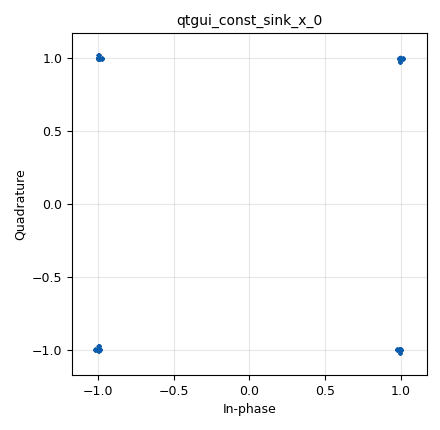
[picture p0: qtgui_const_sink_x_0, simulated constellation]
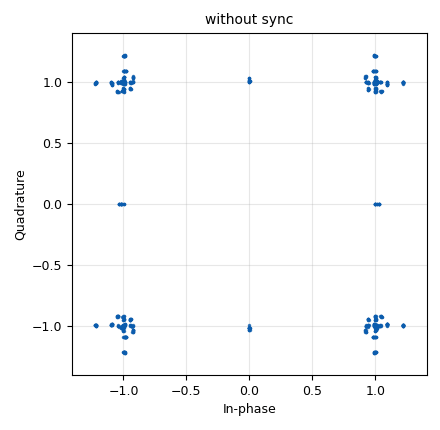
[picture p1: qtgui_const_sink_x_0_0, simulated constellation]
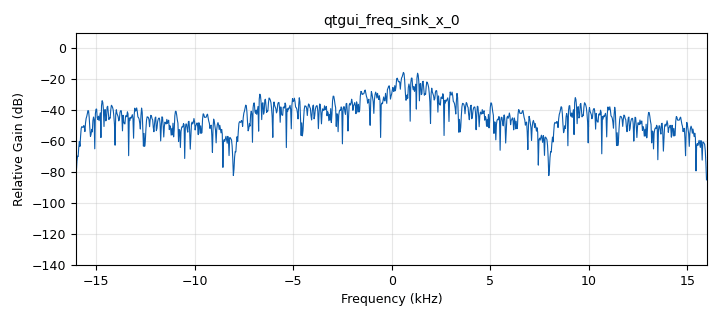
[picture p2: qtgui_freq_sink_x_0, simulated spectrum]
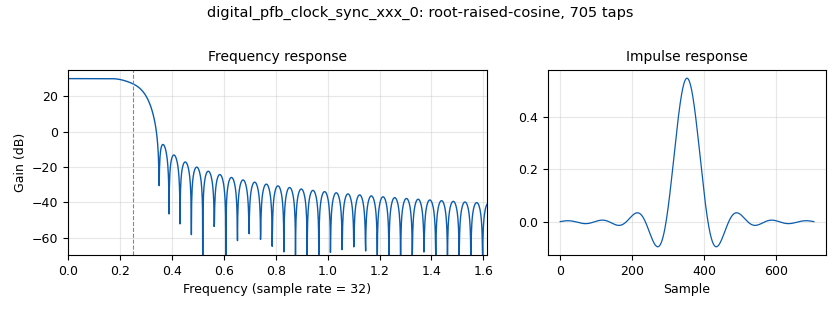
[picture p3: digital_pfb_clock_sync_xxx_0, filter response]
options:
  parameters:
    generate_options: qt_gui
    id: session5partE
    output_language: python
    title: Not titled yet
  states: {}

blocks:
- name: a1
  id: variable_qtgui_range
  parameters:
    orient: Qt.Horizontal
    start: '-2'
    step: '0.1'
    stop: '2'
    value: '0.5'
  states: {state: disabled}
- name: a2
  id: variable_qtgui_range
  parameters:
    orient: Qt.Horizontal
    start: '-2'
    step: '0.1'
    stop: '2'
    value: '0.5'
  states: {state: disabled}
- name: b1
  id: variable_qtgui_range
  parameters:
    orient: Qt.Horizontal
    start: '-2'
    step: '0.1'
    stop: '2'
    value: '0.5'
  states: {state: disabled}
- name: b2
  id: variable_qtgui_range
  parameters:
    orient: Qt.Horizontal
    start: '-2'
    step: '0.1'
    stop: '2'
    value: '0.5'
  states: {state: disabled}
- name: c1
  id: variable_qtgui_range
  parameters:
    orient: Qt.Horizontal
    start: '-2'
    step: '0.1'
    stop: '2'
    value: '0.5'
  states: {state: disabled}
- name: c2
  id: variable_qtgui_range
  parameters:
    orient: Qt.Horizontal
    start: '-2'
    step: '0.1'
    stop: '2'
    value: '0.5'
  states: {state: disabled}
- name: nfilts
  id: variable
  parameters:
    value: '32'
  states: {}
- name: noise_volt
  id: variable_qtgui_range
  parameters:
    orient: Qt.Horizontal
    start: '0'
    step: '0.001'
    stop: '1'
    value: '0.0001'
  states: {}
- name: rrc_taps
  id: variable
  parameters:
    value: firdes.root_raised_cosine(nfilts, nfilts, 1.0/float(sps), 0.35, 11*sps*nfilts)
  states: {}
- name: samp_rate
  id: variable
  parameters:
    value: '32000'
  states: {}
- name: sps
  id: variable
  parameters:
    value: '2'
  states: {}
- name: analog_random_source_x_0
  id: analog_random_source_x
  parameters:
    max: '2'
    min: '0'
    num_samps: '100000'
    repeat: 'True'
    type: byte
  states: {}
- name: blocks_multiply_const_vxx_0
  id: blocks_multiply_const_vxx
  parameters:
    const: 1+1j
    type: complex
  states: {}
- name: blocks_throttle_0
  id: blocks_throttle
  parameters:
    samples_per_second: samp_rate
    type: byte
  states: {}
- name: channels_channel_model_0
  id: channels_channel_model
  parameters:
    epsilon: '1.0'
    freq_offset: '0.0'
    noise_voltage: '0.001'
    seed: '0'
    taps: '[1,a1+a2*1j, b1+b2*1j, c1+c2*1j]'
  states: {state: disabled}
- name: channels_channel_model_0_0
  id: channels_channel_model
  parameters:
    epsilon: '1.0'
    freq_offset: '0.0'
    noise_voltage: noise_volt
    seed: '0'
    taps: '1'
  states: {}
- name: digital_pfb_clock_sync_xxx_0
  id: digital_pfb_clock_sync_xxx
  parameters:
    filter_size: '32'
    init_phase: '16'
    loop_bw: '0.001'
    max_dev: '1.5'
    osps: '1'
    sps: '2'
    taps: rrc_taps
    type: ccf
  states: {}
- name: digital_psk_mod_0
  id: digital_psk_mod
  parameters:
    constellation_points: '4'
    differential: 'True'
    excess_bw: '0.35'
    mod_code: '"gray"'
    samples_per_symbol: '2'
  states: {}
- name: qtgui_const_sink_x_0
  id: qtgui_const_sink_x
  parameters:
    autoscale: 'True'
    size: '1024'
    type: complex
  states: {}
- name: qtgui_const_sink_x_0_0
  id: qtgui_const_sink_x
  parameters:
    autoscale: 'True'
    name: '"without sync"'
    size: '1024'
    type: complex
  states: {}
- name: qtgui_freq_sink_x_0
  id: qtgui_freq_sink_x
  parameters:
    bw: samp_rate
    fc: '0'
    fftsize: '1024'
    type: complex
    wintype: firdes.WIN_BLACKMAN_hARRIS
  states: {}

connections:
- [analog_random_source_x_0, '0', blocks_throttle_0, '0']
- [blocks_multiply_const_vxx_0, '0', channels_channel_model_0, '0']
- [blocks_multiply_const_vxx_0, '0', channels_channel_model_0_0, '0']
- [blocks_throttle_0, '0', digital_psk_mod_0, '0']
- [channels_channel_model_0, '0', digital_pfb_clock_sync_xxx_0, '0']
- [channels_channel_model_0, '0', qtgui_const_sink_x_0, '0']
- [channels_channel_model_0, '0', qtgui_freq_sink_x_0, '0']
- [channels_channel_model_0_0, '0', digital_pfb_clock_sync_xxx_0, '0']
- [channels_channel_model_0_0, '0', qtgui_const_sink_x_0_0, '0']
- [digital_pfb_clock_sync_xxx_0, '0', qtgui_const_sink_x_0, '0']
- [digital_pfb_clock_sync_xxx_0, '0', qtgui_freq_sink_x_0, '0']
- [digital_psk_mod_0, '0', blocks_multiply_const_vxx_0, '0']

metadata:
  file_format: 1
